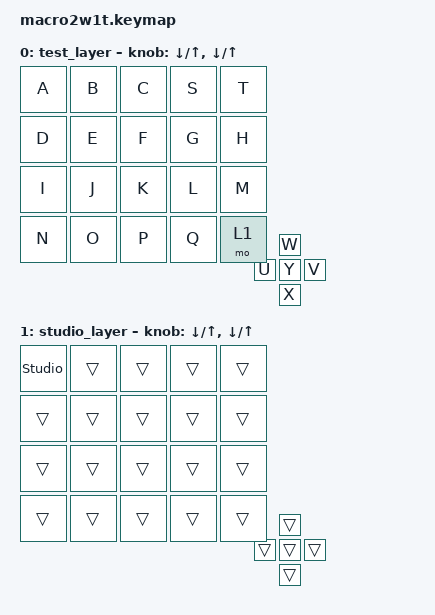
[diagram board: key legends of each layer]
#include <behaviors.dtsi>
#include <dt-bindings/zmk/keys.h>
#include <dt-bindings/zmk/bt.h>
#include <dt-bindings/zmk/outputs.h>

/ {
    keymap {
        compatible = "zmk,keymap";

        /*
         * TEST LAYER
         * Every position types a different letter so you can prove each
         * switch, both wheel presses and all five nav directions work:
         *
         *   top row, keys 1-3    A B C
         *   left wheel press     S
         *   right wheel press    T
         *   2nd row              D E F G H
         *   3rd row              I J K L M
         *   4th row              N O P Q  (5th is the Studio layer key)
         *   5-way l/r/u/d/press  U V W X Y
         *
         * Hold the bottom-right key and press the top-left key to unlock
         * ZMK Studio.
         */
        test_layer {
            bindings = <
                &kp A  &kp B  &kp C  &kp S  &kp T     &kp U
                &kp D  &kp E  &kp F  &kp G  &kp H     &kp V
                &kp I  &kp J  &kp K  &kp L  &kp M     &kp W
                &kp N  &kp O  &kp P  &kp Q  &mo 1     &kp X
                                                      &kp Y
            >;

            /* First value = clockwise, second = counter-clockwise.
               Swap the pair to flip a wheel's direction. */
            sensor-bindings = <&inc_dec_kp DOWN UP &inc_dec_kp DOWN UP>;
        };

        /*
         * STUDIO LAYER
         * Only one live key: top-left unlocks ZMK Studio for editing.
         * Everything else falls through to the layer below.
         */
        studio_layer {
            bindings = <
                &studio_unlock  &trans  &trans  &trans  &trans    &trans
                &trans          &trans  &trans  &trans  &trans    &trans
                &trans          &trans  &trans  &trans  &trans    &trans
                &trans          &trans  &trans  &trans  &trans    &trans
                                                                  &trans
            >;

            sensor-bindings = <&inc_dec_kp DOWN UP &inc_dec_kp DOWN UP>;
        };
    };
};
